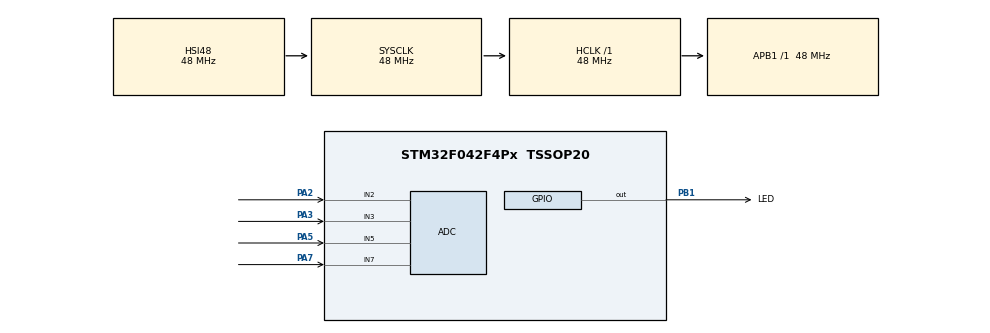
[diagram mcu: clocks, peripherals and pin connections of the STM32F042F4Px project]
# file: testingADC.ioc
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ADC.ClockPrescaler=ADC_CLOCK_ASYNC_DIV1
ADC.ContinuousConvMode=ENABLE
ADC.DMAContinuousRequests=ENABLE
Dma.ADC.0.Direction=DMA_PERIPH_TO_MEMORY
Dma.ADC.0.Instance=DMA1_Channel1
Dma.ADC.0.MemDataAlignment=DMA_MDATAALIGN_HALFWORD
Dma.ADC.0.MemInc=DMA_MINC_ENABLE
Dma.ADC.0.Mode=DMA_CIRCULAR
Dma.ADC.0.PeriphDataAlignment=DMA_PDATAALIGN_HALFWORD
Dma.ADC.0.PeriphInc=DMA_PINC_DISABLE
Dma.ADC.0.Priority=DMA_PRIORITY_HIGH
Dma.Request0=ADC
Mcu.Family=STM32F0
Mcu.Name=STM32F042F4Px
Mcu.Package=TSSOP20
NVIC.ADC1_IRQn=true\:0\:0\:false\:false\:true\:true\:true\:true
NVIC.DMA1_Channel1_IRQn=true\:0\:0\:false\:false\:true\:false\:true\:true
PA13.Mode=Serial_Wire
PA13.Signal=SYS_SWDIO
PA14.Mode=Serial_Wire
PA14.Signal=SYS_SWCLK
PA2.Mode=IN2
PA2.Signal=ADC_IN2
PA3.Mode=IN3
PA3.Signal=ADC_IN3
PA5.Mode=IN5
PA5.Signal=ADC_IN5
PA7.Mode=IN7
PA7.Signal=ADC_IN7
PB1.GPIO_Label=LED
PB1.PinState=GPIO_PIN_SET
PB1.Signal=GPIO_Output
PF0-OSC_IN.Mode=HSE-External-Oscillator
PF0-OSC_IN.Signal=RCC_OSC_IN
PF1-OSC_OUT.Mode=HSE-External-Oscillator
PF1-OSC_OUT.Signal=RCC_OSC_OUT
ProjectManager.HeapSize=0x200
ProjectManager.StackSize=0x400
ProjectManager.TargetToolchain=STM32CubeIDE
RCC.AHBFreq_Value=48000000
RCC.APB1Freq_Value=48000000
RCC.APB1TimFreq_Value=48000000
RCC.HCLKFreq_Value=48000000
RCC.HSE_VALUE=24000000
RCC.SYSCLKFreq_VALUE=48000000
RCC.SYSCLKSource=RCC_SYSCLKSOURCE_HSI48
board=custom

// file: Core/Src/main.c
/* USER CODE BEGIN Header */
/**
  ******************************************************************************
  * @file           : main.c
  * @brief          : Main program body
  ******************************************************************************
  * @attention
  *
  * Copyright (c) 2023 STMicroelectronics.
  * All rights reserved.
  *
  * This software is licensed under terms that can be found in the LICENSE file
  * in the root directory of this software component.
  * If no LICENSE file comes with this software, it is provided AS-IS.
  *
  ******************************************************************************
  */
/* USER CODE END Header */
#include "main.h"

/* USER CODE BEGIN PTD */
typedef struct Sensors_calibration_t {
	uint16_t min_steering;
	uint16_t max_steering;
	uint32_t steering_correction_factor;
	uint16_t min_damper_left;
	uint16_t max_damper_left;
	uint32_t damper_lef_correction_factor;
	uint16_t min_damper_right;
	uint16_t max_damper_right;
	uint32_t damper_right_correction_factor;
} Sensors_calibration_t;
/* USER CODE END PTD */

/* USER CODE BEGIN PD */
#define ADC_BUF_LEN 4 //We define the length of our buffer
#define CAN_ID_0 0x0B0
#define CAN_ID_1 0x0B1
#define CAN_ID_2 0x0B2
#define MAX_STEERING
#define MIN_STEERING
#define MAX_DAMPER_MM 100
#define MIN_DAMPER_MM 0
/* USER CODE END PD */

/* USER CODE BEGIN PM */
//uint8_t send;
/* USER CODE END PM */

ADC_HandleTypeDef hadc;
DMA_HandleTypeDef hdma_adc;

/* USER CODE BEGIN PV */
//We define the buffer where the DMA is going to read converted data.
uint16_t adc_buf[ADC_BUF_LEN];
//We create the buffers needed to transmit data (CAN TRACE).
//uint8_t TxData_Steering_Brake[4];
//uint8_t TxData_WheelSpeed[4];
//uint8_t TxData_Dampers[4];
/* USER CODE END PV */

void SystemClock_Config(void);
static void MX_GPIO_Init(void);
static void MX_DMA_Init(void);
static void MX_ADC_Init(void);

/* USER CODE BEGIN 0 */
//We create the mailbox needed to send data.
//uint32_t TxMailbox;

//We create an instance of the header required to send our data.
//CAN_TxHeaderTypeDef TxHeader_Steering_Brake = {
//	.DLC = 4,
//	.ExtId = 0,
// 	.IDE = CAN_ID_STD,
//	.RTR = CAN_RTR_DATA,
//	.StdId = CANBUS_ID_0,
// 	.TransmitGlobalTime = DISABLE
//};

//CAN_TxHeaderTypeDef TxHeader_WheelSpeed = {
//	.DLC = 4,
//	.ExtId = 0,
// 	.IDE = CAN_ID_STD,
//	.RTR = CAN_RTR_DATA,
//	.StdId = CANBUS_ID_1,
// 	.TransmitGlobalTime = DISABLE
//};

//CAN_TxHeaderTypeDef TxHeader_Dampers = {
//	.DLC = 4,
//	.ExtId = 0,
// 	.IDE = CAN_ID_STD,
//	.RTR = CAN_RTR_DATA,
//	.StdId = CANBUS_ID_2,
// 	.TransmitGlobalTime = DISABLE
//};

//uint16_t linearTransformation();
/* USER CODE END 0 */

int main(void)
{

  /* MCU Configuration--------------------------------------------------------*/

  /* Reset of all peripherals, Initializes the Flash interface and the Systick. */
  HAL_Init();

  /* Configure the system clock */
  SystemClock_Config();

  /* Initialize all configured peripherals */
  MX_GPIO_Init();
  MX_DMA_Init();
  MX_ADC_Init();
  /* USER CODE BEGIN 2 */
  HAL_ADC_Start_DMA(&hadc, adc_buf, ADC_BUF_LEN);
  HAL_ADC_Start_IT(&hadc); //We enable interruptions from ADC.
  //HAL_TIM_Base_Start_IT(&htim14); //We enable interruptions from TIMER14
  //HAL_CAN_Start(&hcan);

  /* USER CODE END 2 */

  /* Infinite loop */
  while (1)
  {
	//Here the idea is to send a CAN message when the timer14 says so.
	//if(send=1)
	//{
	//	send = 0;
	//  HAL_CAN_AddTxMessage(&hcan, &TxHeader_Steering_Brake, TxData_Steering_Brake, &TxMailBox);
	//  HAL_CAN_AddTxMessage(&hcan, &TxHeader_WheelSpeed, TxData_WheelSpeed, &TxMailBox);
    //  HAL_CAN_AddTxMessage(&hcan, &TxHeader_Dampers, TxData_Dampers, &TxMailBox);
	//}
  }
}

void SystemClock_Config(void)
{
  RCC_OscInitTypeDef RCC_OscInitStruct = {0};
  RCC_ClkInitTypeDef RCC_ClkInitStruct = {0};

  /** Initializes the RCC Oscillators according to the specified parameters
  * in the RCC_OscInitTypeDef structure.
  */
  RCC_OscInitStruct.OscillatorType = RCC_OSCILLATORTYPE_HSI14|RCC_OSCILLATORTYPE_HSI48;
  RCC_OscInitStruct.HSI48State = RCC_HSI48_ON;
  RCC_OscInitStruct.HSI14State = RCC_HSI14_ON;
  RCC_OscInitStruct.HSI14CalibrationValue = 16;
  RCC_OscInitStruct.PLL.PLLState = RCC_PLL_NONE;
  if (HAL_RCC_OscConfig(&RCC_OscInitStruct) != HAL_OK)
  {
    Error_Handler();
  }

  /** Initializes the CPU, AHB and APB buses clocks
  */
  RCC_ClkInitStruct.ClockType = RCC_CLOCKTYPE_HCLK|RCC_CLOCKTYPE_SYSCLK
                              |RCC_CLOCKTYPE_PCLK1;
  RCC_ClkInitStruct.SYSCLKSource = RCC_SYSCLKSOURCE_HSI48;
  RCC_ClkInitStruct.AHBCLKDivider = RCC_SYSCLK_DIV1;
  RCC_ClkInitStruct.APB1CLKDivider = RCC_HCLK_DIV1;

  if (HAL_RCC_ClockConfig(&RCC_ClkInitStruct, FLASH_LATENCY_1) != HAL_OK)
  {
    Error_Handler();
  }
}

static void MX_ADC_Init(void)
{

  ADC_ChannelConfTypeDef sConfig = {0};

  /** Configure the global features of the ADC (Clock, Resolution, Data Alignment and number of conversion)
  */
  hadc.Instance = ADC1;
  hadc.Init.ClockPrescaler = ADC_CLOCK_ASYNC_DIV1;
  hadc.Init.Resolution = ADC_RESOLUTION_12B;
  hadc.Init.DataAlign = ADC_DATAALIGN_RIGHT;
  hadc.Init.ScanConvMode = ADC_SCAN_DIRECTION_FORWARD;
  hadc.Init.EOCSelection = ADC_EOC_SINGLE_CONV;
  hadc.Init.LowPowerAutoWait = DISABLE;
  hadc.Init.LowPowerAutoPowerOff = DISABLE;
  hadc.Init.ContinuousConvMode = ENABLE;
  hadc.Init.DiscontinuousConvMode = DISABLE;
  hadc.Init.ExternalTrigConv = ADC_SOFTWARE_START;
  hadc.Init.ExternalTrigConvEdge = ADC_EXTERNALTRIGCONVEDGE_NONE;
  hadc.Init.DMAContinuousRequests = ENABLE;
  hadc.Init.Overrun = ADC_OVR_DATA_PRESERVED;
  if (HAL_ADC_Init(&hadc) != HAL_OK)
  {
    Error_Handler();
  }

  /** Configure for the selected ADC regular channel to be converted.
  */
  sConfig.Channel = ADC_CHANNEL_2;
  sConfig.Rank = ADC_RANK_CHANNEL_NUMBER;
  sConfig.SamplingTime = ADC_SAMPLETIME_1CYCLE_5;
  if (HAL_ADC_ConfigChannel(&hadc, &sConfig) != HAL_OK)
  {
    Error_Handler();
  }

  /** Configure for the selected ADC regular channel to be converted.
  */
  sConfig.Channel = ADC_CHANNEL_3;
  if (HAL_ADC_ConfigChannel(&hadc, &sConfig) != HAL_OK)
  {
    Error_Handler();
  }

  /** Configure for the selected ADC regular channel to be converted.
  */
  sConfig.Channel = ADC_CHANNEL_5;
  if (HAL_ADC_ConfigChannel(&hadc, &sConfig) != HAL_OK)
  {
    Error_Handler();
  }

  /** Configure for the selected ADC regular channel to be converted.
  */
  sConfig.Channel = ADC_CHANNEL_7;
  if (HAL_ADC_ConfigChannel(&hadc, &sConfig) != HAL_OK)
  {
    Error_Handler();
  }

}

static void MX_DMA_Init(void)
{

  /* DMA controller clock enable */
  __HAL_RCC_DMA1_CLK_ENABLE();

  /* DMA interrupt init */
  /* DMA1_Channel1_IRQn interrupt configuration */
  HAL_NVIC_SetPriority(DMA1_Channel1_IRQn, 0, 0);
  HAL_NVIC_EnableIRQ(DMA1_Channel1_IRQn);

}

static void MX_GPIO_Init(void)
{
  GPIO_InitTypeDef GPIO_InitStruct = {0};

  /* GPIO Ports Clock Enable */
  __HAL_RCC_GPIOF_CLK_ENABLE();
  __HAL_RCC_GPIOA_CLK_ENABLE();
  __HAL_RCC_GPIOB_CLK_ENABLE();

  /*Configure GPIO pin Output Level */
  HAL_GPIO_WritePin(LED_GPIO_Port, LED_Pin, GPIO_PIN_SET);

  /*Configure GPIO pin : LED_Pin */
  GPIO_InitStruct.Pin = LED_Pin;
  GPIO_InitStruct.Mode = GPIO_MODE_OUTPUT_PP;
  GPIO_InitStruct.Pull = GPIO_NOPULL;
  GPIO_InitStruct.Speed = GPIO_SPEED_FREQ_LOW;
  HAL_GPIO_Init(LED_GPIO_Port, &GPIO_InitStruct);

}

/* USER CODE BEGIN 4 */
void HAL_ADC_ConvHalfCpltCallback(ADC_HandleTypeDef* hadc)
{
	HAL_GPIO_WritePin(GPIOB, LED_Pin, GPIO_PIN_RESET);
	//When half of the buffer is filled we are going to set in TxData
	//the transformed value of the buffer.
	//TxData_Steering_Brake[0] = linearTransformation(adc_buffer[x])
	//TxData_Steering_Brake[1] = linearTransformation(adc_buffer[x]>>8)
	//TxData_Steering_Brake[2] = linearTransformation(adc_buffer[x])
	//TxData_Steering_brake[3] = linearTransformation(adc_buffer[x]>>8)
	//TxData_Dampers[0] = linearTransformation(adc_buffer[x])
	//TxData_Dampers[1] = linearTransformation(adc_buffer[x]>>8)
	//TxData_Dampers[2] = linearTransformation(adc_buffer[x])
	//TxData_Dampers[3] = linearTransformation(adc_buffer[x]>>8)
}

void HAL_ADC_ConvCpltCallback(ADC_HandleTypeDef* hadc)
{
	HAL_GPIO_WritePin(GPIOB, LED_Pin, GPIO_PIN_SET);
	//When the other half of the buffer is filled we are going to set in TxData
	//the transformed value of the buffer.
}
/* USER CODE END 4 */

void Error_Handler(void)
{
  __disable_irq();
  while (1)
  {
  }
}
